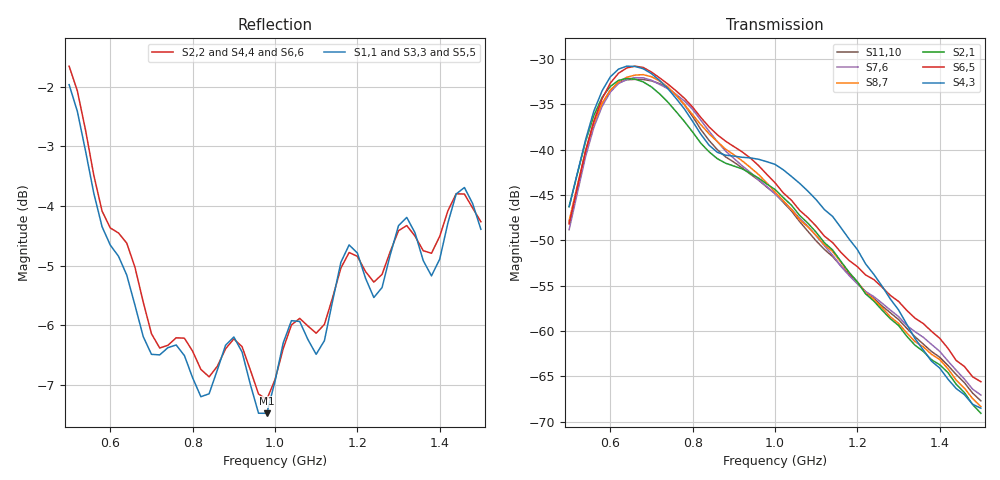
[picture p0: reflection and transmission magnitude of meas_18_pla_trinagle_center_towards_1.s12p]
! Converted from meas_18_pla_trinagle_center_towards_1.mat
! MATLAB 5.0 MAT-file, Platform: PCWIN64, Created on: Sat Nov 21 15:29:19 2026
! Ports 1-12 = antennas 1-12; IFBW=1000 Hz, power=0 dBm, doCalibration flag=0
! SW_A serial 12410080206: antennas 1 3 5 7 9 11
! SW_B serial 12410080235: antennas 2 4 6 8 10 12
! WARNING: Sij (i!=j) between two odd or two even ports was NOT MEASURED (NaN in source).
! Those entries are written as 0 0 placeholders. Do not treat them as data.
! Reference impedance 50 ohm is assumed (not stored in source).
# Hz S RI R 50
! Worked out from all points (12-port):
!   51 points, 500 MHz to 1.5 GHz, reference 50 ohm
!   strongest paths, dB at 500 MHz, 740 MHz, 1 GHz, 1.26 GHz, 1.5 GHz:
!     S4,3: -46.3, -33.3, -41.6, -55.0, -68.5
!     S6,5: -48.2, -32.8, -43.7, -55.2, -65.6
!     S2,1: -46.3, -34.8, -44.4, -57.7, -69.1
!     S8,7: -47.8, -33.1, -44.7, -57.4, -68.3
!     S7,6: -48.8, -33.3, -44.9, -56.9, -67.0
!     S11,10: -48.1, -33.2, -44.8, -57.2, -67.7
!   lowest |S11| = -7.5 dB at 980 MHz (marker M1), VSWR 2.47, Z = 26.9 - j25.3 ohm
!   |S11| at or under -10 dB: nowhere
